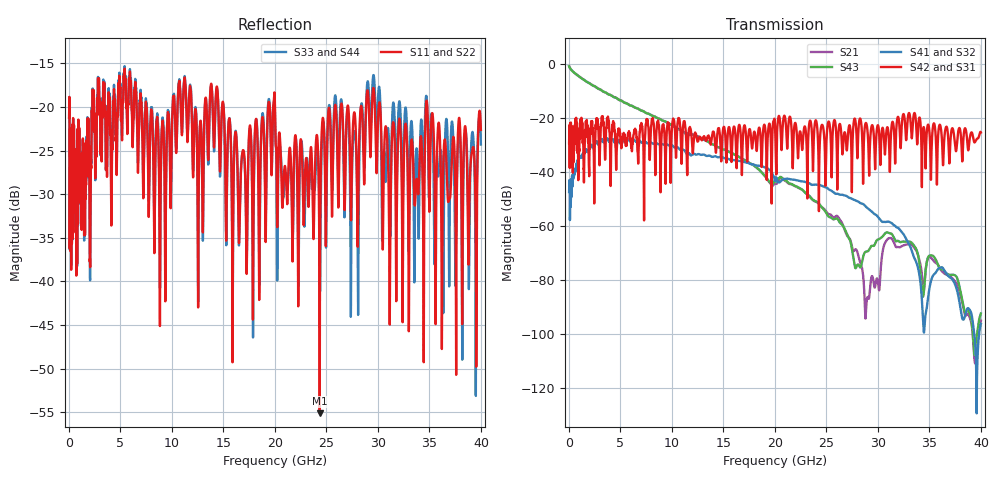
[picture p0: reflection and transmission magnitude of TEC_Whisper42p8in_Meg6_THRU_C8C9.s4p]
! Tyco Electronics Strada Whisper System
! THRU_C8C9
!! SYSTEM DESCRIPTION: Daughtercard-Connector-Backplane-Connector-Daughtercard
!! PCB DESCRIPTION: BP: 250mil, 26 lyrs, Megtron6, bottom layer route, no stub, 6-9-6mil 30" traces; DC: 150mil, 16 lyrs, Megtron6, bottom layer route, no stub, 6-9-6mil 5" traces
!! CONNECTOR DESCRIPTION: STRADA Whisper, Right Angle Receptacle to Vertical Header
!! MODEL DESCRIPTION: Tyco Electronics System 4-port S-parameter
!! MODEL STATUS: Developmental
!! MODEL GEOMETRY: Channel Model
!! MODEL FREQUENCY RANGE: DC to 40 GHz in 10 MHz frequency steps
!! MODEL EDGE RATE LIMITATION: 12.5 ps (Using conservative 0.5/Fmax rule of thumb)
!! TIME-DOMAIN TRANSFORM CAUTIONS:
!! 1.) Do not simulate transient edge rates faster than the number listed above.  Edge rates faster than this number
!!  contain significant spectral content at frequencies above the model's highest frequency.
!! 2.) Even when simulating edge rates that are slower than the number listed above, be aware that the best time
!!  resolution possible with a direct iFFT is (1 / 2Fmax).  As a result, time resolution is typically not adequate
!!  for most time-domain simulations unless tricks such as windowing are used to minimize leakage and aliasing.
!! 3.) Because the model has a uniform frequency step, a direct iFFT will result in an impulse that that has a time
!!  length given by either (1 / Fstep) or (1 / 2Fstep), depending on the transform being used.  Care has been taken
!!  in selecting the frequency step to ensure a settled impulse response for the model.  Therefore, convolution with
!!  the model's impulse response should present no issues.  However, if directly concatenating s-parameter models
!!  in the frequency domain a user must either interpolate necessary interim frequencies or complete impulse response
!!  zero-padding.  Impulse response zero-padding is more difficult, but more accurate.
!! PORT DEFINITIONS:
!! Port  1  ----->  Side A  C8  Side B  <-----  Port  2
!! Port  3  ----->  Side A  C9  Side B  <-----  Port  4
! Created Wed Apr 27 14:09:06 2011
# hz S ma R 50
! 4 Port Network Data from SP1.SP block
! freq  magS11  angS11  magS12  angS12  magS13  angS13  magS14  angS14
!  magS21  angS21  magS22  angS22  magS23  angS23  magS24  angS24
!  magS31  angS31  magS32  angS32  magS33  angS33  magS34  angS34
!  magS41  angS41  magS42  angS42  magS43  angS43  magS44  angS44
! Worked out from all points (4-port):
!   4000 points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, 10 MHz to 40 GHz, reference 50 ohm
!   strongest paths, dB at 10 MHz, 10.01 GHz, 20.01 GHz, 30.01 GHz, 40 GHz:
!     S42: -29.3, -22.6, -23.1, -22.6, -25.3
!     S31: -29.3, -22.6, -23.1, -22.6, -25.3
!     S41: -47.3, -30.0, -43.2, -56.6, -96.2
!     S32: -47.3, -30.0, -43.2, -56.6, -96.2
!     S43: -0.7, -22.6, -42.5, -64.9, -92.3
!     S21: -0.7, -22.6, -43.1, -80.8, -95.0
!   lowest |S11| = -55.1 dB at 24.35 GHz (marker M1), VSWR 1.00, Z = 50 + j0.175 ohm
!   |S11| at or under -10 dB: start of sweep to end of sweep
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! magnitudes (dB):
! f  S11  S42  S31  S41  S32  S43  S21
! 10 MHz  -21.2  -29.3  -29.3  -47.3  -47.3  -0.7  -0.7
! 3.71 GHz  -26.2  -20.4  -20.4  -27.6  -27.6  -10.8  -10.8
! 24.35 GHz  -55.1  -29.5  -29.5  -44.8  -44.8  -52.0  -52.1
! 28.79 GHz  -22.4  -21.9  -21.9  -52.6  -52.6  -69.5  -94.2
! 31.16 GHz  -43.4  -39.9  -39.9  -58.5  -58.5  -62.6  -64.4
! 34.27 GHz  -25.0  -45.5  -45.5  -87.2  -87.2  -83.7  -77.8
! 40 GHz  -22.6  -25.3  -25.3  -96.2  -96.2  -92.3  -95.0
